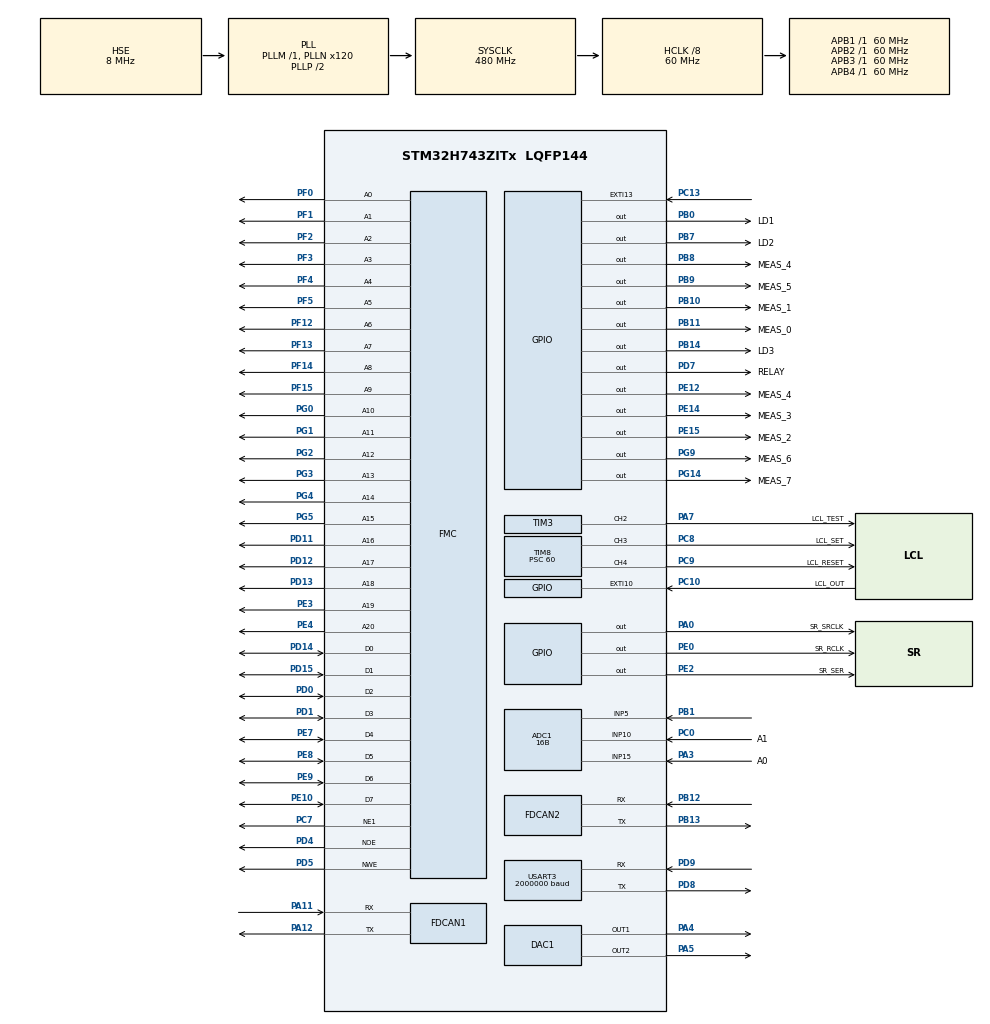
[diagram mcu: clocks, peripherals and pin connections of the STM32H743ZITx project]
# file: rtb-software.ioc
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PA11.GPIO_Speed=GPIO_SPEED_FREQ_VERY_HIGH
SH.FMC_D7_DA7.0=FMC_D7,8b-d1
PE3.GPIO_Speed_High_Default=GPIO_SPEED_FREQ_HIGH
VP_TIM17_VS_ClockSourceINT.Mode=Enable_Timer
SH.FMC_A0.0=FMC_A0,21b-a1
FDCAN2.DataPrescaler=8
PD11.GPIO_Speed_High_Default=GPIO_SPEED_FREQ_HIGH
SH.ADCx_INP10.0=ADC1_INP10,IN10-Single-Ended
PG4.Signal=FMC_A14_BA0
PB14.GPIO_Label=LD3
PG0.Signal=FMC_A10
FDCAN2.RxFifo0ElmtsNbr=4
PE8.GPIO_Speed_High_Default=GPIO_SPEED_FREQ_HIGH
TIM8.Channel-PWM\ Generation4\ CH4=TIM_CHANNEL_4
SH.ADCx_INP5.0=ADC1_INP5,IN5-Single-Ended
SH.FMC_D5_DA5.0=FMC_D5,8b-d1
PB13.Signal=FDCAN2_TX
SH.FMC_A19.0=FMC_A19,21b-a1
SH.FMC_NWE.0=FMC_NWE,Sram1
RCC.SYSCLKSource=RCC_SYSCLKSOURCE_PLLCLK
SH.FMC_A15_BA1.0=FMC_A15,21b-a1
USART3.VirtualMode-Asynchronous=VM_ASYNC
PD0.GPIO_Speed_High_Default=GPIO_SPEED_FREQ_HIGH
USART3.BaudRate=2000000
TIM8.Pulse-PWM\ Generation4\ CH4=1
PD5.GPIO_Speed_High_Default=GPIO_SPEED_FREQ_HIGH
PD4.Signal=FMC_NOE
ADC1.Channel-2\#ChannelRegularConversion=ADC_CHANNEL_5
PC7.Signal=FMC_NE1
PD0.Signal=FMC_D2_DA2
PD8.Signal=USART3_TX
PG0.GPIO_Speed_High_Default=GPIO_SPEED_FREQ_HIGH
PG5.GPIO_Speed_High_Default=GPIO_SPEED_FREQ_HIGH
NVIC.EXTI15_10_IRQn=true\:1\:0\:true\:false\:true\:true\:true
SH.FMC_A18.0=FMC_A18,21b-a1
NVIC.TIM8_TRG_COM_TIM14_IRQn=true\:8\:0\:true\:false\:true\:true\:true
RCC.DIVM2=4
RCC.DIVM1=1
TIM15.Period=3000
FMC.DataSetupTime1=5
PE9.Signal=FMC_D6_DA6
SH.FMC_A2.0=FMC_A2,21b-a1
FDCAN1.NominalPrescaler=8
PF13.GPIO_Speed_High_Default=GPIO_SPEED_FREQ_HIGH
FDCAN2.NominalSyncJumpWidth=4
PE2.Signal=GPIO_Output
SH.FMC_D1_DA1.0=FMC_D1,8b-d1
PG4.GPIO_Speed_High_Default=GPIO_SPEED_FREQ_HIGH
PF3.Signal=FMC_A3
PE10.Signal=FMC_D7_DA7
PF1.GPIO_Speed_High_Default=GPIO_SPEED_FREQ_HIGH
ADC1.SamplingTime-0\#ChannelRegularConversion=ADC_SAMPLETIME_810CYCLES_5
PA0.Signal=GPIO_Output
Mcu.Package=LQFP144
PB9.Signal=GPIO_Output
PB1.Signal=ADCx_INP5
TIM8.Channel-PWM\ Generation3\ CH3=TIM_CHANNEL_3
SH.S_TIM8_CH4.0=TIM8_CH4,PWM Generation4 CH4
ADC1.OversamplingMode=DISABLE
PD12.Signal=FMC_A17_ALE
PC7.GPIO_Speed_High_Default=GPIO_SPEED_FREQ_HIGH
TIM8.Pulse-PWM\ Generation3\ CH3=1
PE12.GPIO_Label=MEAS_4
SH.FMC_A1.0=FMC_A1,21b-a1
RCC.APB4Freq_Value=60000000
FDCAN1.DataTimeSeg2=16
PF14.Signal=FMC_A8
FDCAN1.DataTimeSeg1=16
RCC.FDCANCLockSelection=RCC_FDCANCLKSOURCE_PLL2
TIM3.Pulse-PWM\ Generation2\ CH2=1
PB13.Mode=FDCAN_Activate
VP_TIM14_VS_ClockSourceINT.Mode=Enable_Timer
TIM16.Prescaler=600
PA12.GPIO_PuPd=GPIO_PULLUP
NVIC.TIM15_IRQn=true\:9\:0\:true\:false\:true\:true\:true
PH0-OSC_IN\ (PH0).Mode=HSE-External-Clock-Source
ADC1.EOCSelection=ADC_EOC_SINGLE_CONV
PD15.Signal=FMC_D1_DA1
SH.FMC_D3_DA3.0=FMC_D3,8b-d1
PE7.GPIO_Speed_High_Default=GPIO_SPEED_FREQ_HIGH
SH.S_TIM8_CH3.0=TIM8_CH3,PWM Generation3 CH3
SH.FMC_A4.0=FMC_A4,21b-a1
RCC.DIVQ2=4
RCC.DIVQ1=4
ADC1.Rank-0\#ChannelRegularConversion=1
DAC1.DAC_Channel-DAC_OUT2=DAC_CHANNEL_2
PD1.GPIO_Speed_High_Default=GPIO_SPEED_FREQ_HIGH
FMC.WriteFifo3=FMC_WRITE_FIFO_DISABLE
PG5.Signal=FMC_A15_BA1
ADC1.OffsetNumber-0\#ChannelRegularConversion=ADC_OFFSET_NONE
FMC.WriteFifo4=FMC_WRITE_FIFO_DISABLE
PG9.Signal=GPIO_Output
FMC.WriteFifo1=FMC_WRITE_FIFO_DISABLE
PC13.Signal=GPXTI13
PE9.GPIO_Speed_High_Default=GPIO_SPEED_FREQ_HIGH
FMC.WriteFifo2=FMC_WRITE_FIFO_DISABLE
PB11.GPIO_Label=MEAS_0
PD7.Signal=GPIO_Output
PD1.Signal=FMC_D3_DA3
VP_TIM16_VS_ClockSourceINT.Mode=Enable_Timer
NVIC.TIM16_IRQn=true\:8\:0\:true\:false\:true\:true\:true
PC0.Signal=ADCx_INP10
PG1.GPIO_Speed_High_Default=GPIO_SPEED_FREQ_HIGH
SH.FMC_NOE.0=FMC_NOE,Sram1
NVIC.FDCAN2_IT0_IRQn=true\:1\:0\:true\:false\:true\:true\:true
FDCAN2.NominalTimeSeg1=16
FDCAN2.NominalTimeSeg2=16
SH.FMC_A3.0=FMC_A3,21b-a1
FMC.AddressSetupTime1=5
PB8.GPIO_Label=MEAS_4
PC8.GPIO_ModeDefaultPP=GPIO_MODE_AF_OD
SH.COMP_DAC11_group.0=DAC1_OUT1,DAC_OUT1
RCC.DIVN2=128
RCC.DIVN1=120
PB13.GPIO_Speed=GPIO_SPEED_FREQ_VERY_HIGH
FDCAN2.NominalPrescaler=8
VP_TIM8_VS_ClockSourceINT.Mode=Internal
PF5.GPIO_Speed_High_Default=GPIO_SPEED_FREQ_HIGH
PC7.GPIO_PuPd=GPIO_NOPULL
PD8.Mode=Asynchronous
ADC1.OffsetSignedSaturation-0\#ChannelRegularConversion=DISABLE
PB10.Signal=GPIO_Output
PB14.Signal=GPIO_Output
PA5.Signal=COMP_DAC12_group
PD7.PinState=GPIO_PIN_SET
PD14.GPIO_Speed_High_Default=GPIO_SPEED_FREQ_HIGH
PA7.GPIO_Speed=GPIO_SPEED_FREQ_HIGH
PB13.GPIO_PuPd=GPIO_PULLUP
FDCAN1.AutoRetransmission=ENABLE
SH.FMC_A6.0=FMC_A6,21b-a1
PE14.Signal=GPIO_Output
PD4.GPIO_Speed_High_Default=GPIO_SPEED_FREQ_HIGH
PE15.Signal=GPIO_Output
PE8.Signal=FMC_D5_DA5
PC9.GPIO_PuPd=GPIO_NOPULL
PF13.Signal=FMC_A7
PG14.GPIO_Label=MEAS_7
PF14.GPIO_Speed_High_Default=GPIO_SPEED_FREQ_HIGH
TIM14.Prescaler=6000
TIM8.Period=600
TIM8.OCPolarity_4=TIM_OCPOLARITY_HIGH
TIM8.OCPolarity_3=TIM_OCPOLARITY_HIGH
PC8.GPIO_PuPd=GPIO_NOPULL
FDCAN1.DataPrescaler=8
PA4.Signal=COMP_DAC11_group
ADC1.SamplingTime-1\#ChannelRegularConversion=ADC_SAMPLETIME_810CYCLES_5
FDCAN1.NominalSyncJumpWidth=4
ADC1.master=1
TIM8.OCIdleState_4=TIM_OCIDLESTATE_SET
PD11.Signal=FMC_A16_CLE
ADC1.Rank-1\#ChannelRegularConversion=2
SH.FMC_A5.0=FMC_A5,21b-a1
PA11.Signal=FDCAN1_RX
ProjectManager.HeapSize=0x200
SH.FMC_A20.0=FMC_A20,21b-a1
NVIC.TIM8_UP_TIM13_IRQn=true\:9\:0\:true\:false\:true\:true\:true
TIM8.OCIdleState_3=TIM_OCIDLESTATE_SET
NVIC.PriorityGroup=NVIC_PRIORITYGROUP_4
FDCAN2.TxFifoQueueElmtsNbr=2
TIM3.Channel-PWM\ Generation2\ CH2=TIM_CHANNEL_2
PE3.Signal=FMC_A19
PF4.Signal=FMC_A4
PB12.GPIO_PuPd=GPIO_PULLUP
PB0.Signal=GPIO_Output
TIM8.CounterMode=TIM_COUNTERMODE_UP
PF2.GPIO_Speed_High_Default=GPIO_SPEED_FREQ_HIGH
Mcu.Family=STM32H7
NVIC.USART3_IRQn=true\:1\:0\:true\:false\:true\:true\:true
FDCAN2.DataSyncJumpWidth=4
SH.FMC_A8.0=FMC_A8,21b-a1
ADC1.OffsetSignedSaturation-1\#ChannelRegularConversion=DISABLE
TIM17.Prescaler=600
RCC.CortexFreq_Value=480000000
ADC1.Overrun=ADC_OVR_DATA_PRESERVED
TIM14.AutoReloadPreload=TIM_AUTORELOAD_PRELOAD_DISABLE
ADC1.ContinuousConvMode=DISABLE
RCC.HPRE=RCC_HCLK_DIV8
FDCAN1.DataSyncJumpWidth=4
PF4.GPIO_Speed_High_Default=GPIO_SPEED_FREQ_HIGH
VP_TIM3_VS_OPM.Mode=OPM_bit
PH0-OSC_IN\ (PH0).Signal=RCC_OSC_IN
PG2.Signal=FMC_A12
SH.COMP_DAC12_group.0=DAC1_OUT2,DAC_OUT2
PC9.GPIO_ModeDefaultPP=GPIO_MODE_AF_OD
PC10.Signal=GPXTI10
PA0.GPIO_Label=SR_SRCLK
PC0.GPIO_Label=A1
SH.FMC_D6_DA6.0=FMC_D6,8b-d1
PA11.Mode=FDCAN_Activate
PB0.GPIO_Label=LD1
VP_TIM8_VS_OPM.Mode=OPM_bit
SH.FMC_A14_BA0.0=FMC_A14,21b-a1
PA11.GPIO_PuPd=GPIO_PULLUP
SH.FMC_A11.0=FMC_A11,21b-a1
NVIC.FDCAN2_IT1_IRQn=true\:1\:0\:true\:false\:true\:true\:true
PB11.Signal=GPIO_Output
FMC.WriteOperation1=FMC_WRITE_OPERATION_ENABLE
PD9.Mode=Asynchronous
ProjectManager.StackSize=0x400
PD13.Signal=FMC_A18
NVIC.ADC_IRQn=true\:8\:0\:true\:false\:true\:true\:true
SH.FMC_A7.0=FMC_A7,21b-a1
PA12.Signal=FDCAN1_TX
TIM15.Prescaler=60000
NVIC.TIM17_IRQn=true\:10\:0\:true\:false\:true\:true\:true
RCC.HCLKFreq_Value=60000000
ADC1.Resolution=ADC_RESOLUTION_16B
ADC1.LeftBitShift=ADC_LEFTBITSHIFT_NONE
TIM3.Period=100
PF12.Signal=FMC_A6
SH.FMC_A10.0=FMC_A10,21b-a1
PF15.GPIO_Speed_High_Default=GPIO_SPEED_FREQ_HIGH
ADC1.Channel-0\#ChannelRegularConversion=ADC_CHANNEL_15
RCC.HSE_VALUE=8000000
TIM14.Period=100
FDCAN1.Mode=FDCAN_MODE_NORMAL
PC10.GPIO_ModeDefaultEXTI=GPIO_MODE_IT_FALLING
SH.FMC_D2_DA2.0=FMC_D2,8b-d1
TIM17.Period=1000
TIM8.OCMode_PWM-PWM\ Generation4\ CH4=TIM_OCMODE_PWM1
ADC1.Rank-2\#ChannelRegularConversion=3
FMC.BusTurnAroundDuration1=5
TIM3.Prescaler=600
PC7.GPIO_Mode=GPIO_MODE_AF_PP
PB7.Signal=GPIO_Output
TIM16.RepetitionCounter=100
PE4.Signal=FMC_A20
NVIC.FDCAN1_IT1_IRQn=true\:1\:0\:true\:false\:true\:true\:true
FDCAN1.TxFifoQueueMode=FDCAN_TX_FIFO_OPERATION
FDCAN1.NominalTimeSeg2=16
FDCAN1.NominalTimeSeg1=16
PD7.GPIO_Label=RELAY
RCC.APB3Freq_Value=60000000
TIM3.OCPolarity_2=TIM_OCPOLARITY_LOW
PB7.GPIO_Label=LD2
PB12.Mode=FDCAN_Activate
SH.FMC_A13.0=FMC_A13,21b-a1
SH.FMC_D0_DA0.0=FMC_D0,8b-d1
PG2.GPIO_Speed_High_Default=GPIO_SPEED_FREQ_HIGH
FDCAN1.RxFifo0ElmtsNbr=4
SH.FMC_A9.0=FMC_A9,21b-a1
PF3.GPIO_Speed_High_Default=GPIO_SPEED_FREQ_HIGH
ADC1.OffsetNumber-1\#ChannelRegularConversion=ADC_OFFSET_NONE
SH.FMC_D4_DA4.0=FMC_D4,8b-d1
PE0.GPIO_Label=SR_RCLK
PF5.Signal=FMC_A5
TIM8.Prescaler=60
SH.ADCx_INP15.0=ADC1_INP15,IN15-Single-Ended
PF0.Signal=FMC_A0
PE7.Signal=FMC_D4_DA4
PD13.GPIO_Speed_High_Default=GPIO_SPEED_FREQ_HIGH
PE2.GPIO_Label=SR_SER
PA12.GPIO_Speed=GPIO_SPEED_FREQ_VERY_HIGH
FDCAN2.RxFifo1ElmtsNbr=4
PA3.Signal=ADCx_INP15
NVIC.FDCAN1_IT0_IRQn=true\:1\:0\:true\:false\:true\:true\:true
SH.FMC_A12.0=FMC_A12,21b-a1
RCC.PLLSourceVirtual=RCC_PLLSOURCE_HSE
TIM3.CounterMode=TIM_COUNTERMODE_UP
PB9.GPIO_Label=MEAS_5
PC10.GPIO_Label=LCL_OUT
PC9.GPIO_Label=LCL_RESET
PG3.Signal=FMC_A13
PG1.Signal=FMC_A11
PD12.GPIO_Speed_High_Default=GPIO_SPEED_FREQ_HIGH
PC8.Signal=S_TIM8_CH3
ADC1.DiscontinuousConvMode=DISABLE
PE14.GPIO_Label=MEAS_3
PD9.Signal=USART3_RX
PD5.Signal=FMC_NWE
ADC1.SamplingTime-2\#ChannelRegularConversion=ADC_SAMPLETIME_810CYCLES_5
NVIC.FDCAN_CAL_IRQn=true\:0\:0\:false\:false\:true\:true\:true
PC8.GPIO_Label=LCL_SET
PD15.GPIO_Speed_High_Default=GPIO_SPEED_FREQ_HIGH
PE15.GPIO_Label=MEAS_2
SH.FMC_A17_ALE.0=FMC_A17,21b-a1
ProjectManager.TargetToolchain=SW4STM32
PE4.GPIO_Speed_High_Default=GPIO_SPEED_FREQ_HIGH
PB10.GPIO_Label=MEAS_1
SH.FMC_A16_CLE.0=FMC_A16,21b-a1
ADC1.OffsetSignedSaturation-2\#ChannelRegularConversion=DISABLE
PF0.GPIO_Speed_High_Default=GPIO_SPEED_FREQ_HIGH
FDCAN2.DataTimeSeg1=16
ADC1.Channel-1\#ChannelRegularConversion=ADC_CHANNEL_10
FDCAN2.DataTimeSeg2=16
PF2.Signal=FMC_A2
ADC1.EnableAnalogWatchDog1=false
RCC.USBFreq_Value=240000000
PB12.GPIO_Speed=GPIO_SPEED_FREQ_VERY_HIGH
PE10.GPIO_Speed_High_Default=GPIO_SPEED_FREQ_HIGH
PG9.GPIO_Label=MEAS_6
SH.S_TIM3_CH2.0=TIM3_CH2,PWM Generation2 CH2
PG14.Signal=GPIO_Output
board=custom
TIM16.Period=50
RCC.APB2Freq_Value=60000000
FDCAN1.RxFifo1ElmtsNbr=4
PG3.GPIO_Speed_High_Default=GPIO_SPEED_FREQ_HIGH
RCC.ADCFreq_Value=128000000
PF15.Signal=FMC_A9
VP_TIM14_VS_OPM.Mode=OPM_bit
PF1.Signal=FMC_A1
ADC1.NbrOfConversion=3
ADC1.OffsetNumber-2\#ChannelRegularConversion=ADC_OFFSET_NONE
Mcu.Name=STM32H743ZITx
PE0.Signal=GPIO_Output
PE12.Signal=GPIO_Output
PD14.Signal=FMC_D0_DA0
RCC.SYSCLKFreq_VALUE=480000000
PA7.GPIO_Label=LCL_TEST
TIM17.RepetitionCounter=100
PA12.Mode=FDCAN_Activate
PF12.GPIO_Speed_High_Default=GPIO_SPEED_FREQ_HIGH
VP_TIM15_VS_ClockSourceINT.Mode=Internal
ADC1.NbrOfConversionFlag=1
PB8.Signal=GPIO_Output
PC9.Signal=S_TIM8_CH4
PC7.Mode=NorPsramChipSelect1_1
RCC.APB1Freq_Value=60000000
ADC1.ClockPrescaler=ADC_CLOCK_ASYNC_DIV256
PD7.GPIO_ModeDefaultOutputPP=GPIO_MODE_OUTPUT_OD
FDCAN1.TxFifoQueueElmtsNbr=2
PB12.Signal=FDCAN2_RX
PA3.GPIO_Label=A0
PA7.Signal=S_TIM3_CH2

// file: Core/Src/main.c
/* USER CODE BEGIN Header */
/**
  ******************************************************************************
  * @file           : main.c
  * @brief          : Main program body
  ******************************************************************************
  * @attention
  *
  * <h2><center>&copy; Copyright (c) 2021 STMicroelectronics.
  * All rights reserved.</center></h2>
  *
  * This software component is licensed by ST under BSD 3-Clause license,
  * the "License"; You may not use this file except in compliance with the
  * License. You may obtain a copy of the License at:
  *                        opensource.org/licenses/BSD-3-Clause
  *
  ******************************************************************************
  */
/* USER CODE END Header */
#include "main.h"

/* USER CODE BEGIN Includes */
#include "parameters.h"
#include "experiments.h"
#include "log.h"
#include "stm32h7xx_ll_usart.h"
#include "adc.h"
#include <memory.h>
#include <can.h>
#include <lcl.h>
#include <mram.h>
#include <stdlib.h>

/* USER CODE END Includes */

ADC_HandleTypeDef hadc1;

DAC_HandleTypeDef hdac1;

FDCAN_HandleTypeDef hfdcan1;
FDCAN_HandleTypeDef hfdcan2;

TIM_HandleTypeDef htim3;
TIM_HandleTypeDef htim8;
TIM_HandleTypeDef htim14;
TIM_HandleTypeDef htim15;
TIM_HandleTypeDef htim16;
TIM_HandleTypeDef htim17;

SRAM_HandleTypeDef hsram1;

/* USER CODE BEGIN PV */
uint8_t uart_buffer[UART_BUFFER_SIZE][UART_BUFFER_STRING_SIZE + 1];
atomic_uint uart_write = 0;
atomic_uint uart_read = 0;
bool reserved = false;
enum State state = none;
uint32_t lastLatchup = 0;
/* USER CODE END PV */

void SystemClock_Config(void);
static void MX_GPIO_Init(void);
static void MX_ADC1_Init(void);
static void MX_DAC1_Init(void);
static void MX_FDCAN1_Init(void);
static void MX_FDCAN2_Init(void);
static void MX_USART3_UART_Init(void);
static void MX_TIM16_Init(void);
static void MX_TIM17_Init(void);
static void MX_TIM3_Init(void);
static void MX_TIM15_Init(void);
static void MX_FMC_Init(void);
static void MX_TIM8_Init(void);
static void MX_TIM14_Init(void);

/* USER CODE BEGIN 0 */

/**
 * This function overwrites the default printf() and std::cout/cerr outputs,
 * redirecting them to a UART port.
 */
__attribute__((optimize("O0"))) int _write(int file, char *ptr, int len)
{
    static atomic_bool anyone_writing = false;

    if (file == 1 || file == 2) { // stdout, stderr
        if (len > UART_BUFFER_STRING_SIZE) {
            len = UART_BUFFER_STRING_SIZE;
        }
        // Write data into buffer in a cyclic format
        uint8_t* buffer = uart_buffer[(uart_write) % UART_BUFFER_SIZE];
        memcpy(buffer, ptr, len);
        buffer[len] = '\0';
        uart_write += 1;

        // Notify the PendSV interrupt handler that there are new items in the queue
        SCB->ICSR |= SCB_ICSR_PENDSVSET_Msk;
    }
    return len;
}

/**
 * Handler from any received messages by UART
 */
void uart_command_received(const uint8_t* command, uint32_t len) {
    log_trace("Received UART message: %.*s", len, command);

    if (len < 1) {
        log_error("Empty command received");
        return;
    }

    bool output = false;
    switch (command[0]) {
        case 'd':
        case 'f':
        case 'n':
            output = uart_set_parameter(command, len);
            break;
        case 'e':
        case 'p':
            output = uart_experiment(command, len);
    }

    if (!output) {
        log_error("I could not understand your command. Please try again");
    }
}

/**
  * Handler for any pin interrupts
  */
void HAL_GPIO_EXTI_Callback(uint16_t GPIO_Pin) {
    // Send clock update + LCL report on event
    if (GPIO_Pin == LCL_OUT_Pin) {
        if (RANDOM_ERRORS && output_status) {
            // If we have a test latchup trigger and we detect it,
            // we can disable it (simulating actual latchup restoration)
            LCL_Test_Trigger_OFF();
        }

        if (output_status) {
            // Latchup
            printf(UART_CONTROL UART_C_POWER "0" "L" "\r\n");
        }

        if (!output_status) return;

        // A falling edge occurred during a power cycle event. We can ignore it
        if (output_cycling) return;

        // Latchup occurred
        stop_experiment(-1);
        if (currentExperiment == -1) {
            LCL_ON(); // Restart the component
        } else {
            LCL_ON_Experiment();
        }
        printf(UART_CONTROL UART_C_TIME "%ld\r\n", HAL_GetTick());

        if (HAL_GetTick() - lastLatchup > MINIMUM_LATCHUP_INTERVAL) {
            static char state_string[STATE_STRING_SIZE];
            state_to_string(state, state_string);

            printf(UART_CONTROL UART_C_LATCHUP "%s\r\n", state_string);
            log_warn("SEL detected!");

            lastLatchup = HAL_GetTick();
        } else {
            // Microlatchup
            log_info("Micro-latchup detected");
        }
    } else if (GPIO_Pin == GPIO_PIN_13) {
        // Button pressed
        Outputs_OFF(); // Emergency scram
        HAL_Delay(100); // Debouncing (?)
        log_warn("SCRAM triggered. Output is off.");
    }
}

void HAL_TIM_PeriodElapsedCallback(TIM_HandleTypeDef *htim) {
    if (htim == &htim17) { // Tick timer
        // Print time as a control character on every timer update
        printf(UART_CONTROL UART_C_TIME "%ld\r\n", HAL_GetTick());
    } else if (htim == &htim16) { // ADC measurement timer
        // Acquire an ADC measurement
        ADC_BeginConversion();
    } else if (htim == &htim15) { // Latchup simulation timer
        if (RANDOM_ERRORS && output_status) {
            LCL_Test_Trigger();
            log_info("LCL test!");
        }

        // Create a random simulation for the next time
        __HAL_TIM_DISABLE(&htim15);
        __HAL_TIM_SET_COUNTER(&htim15, 0); // Make sure to start from the start
        __HAL_TIM_SET_AUTORELOAD(&htim15, (rand() % 5000 + 1)); // Max milliseconds
        __HAL_TIM_ENABLE(&htim15);
    } else if (htim == &htim14) { // Power-cycle delay timer
        if (output_status || output_cycling) { // Someone may have turned the output OFF in the meantime
            LCL_ON_Force();
        }
    } else if (htim == &htim8) { // LCL SET/RESET timer
        LCL_Check();
    }
}

void state_to_string(enum State state, char * string) {
    switch (state) {
        case canRX:
            strcpy(string, "RX");
            break;
        case canTX:
            strcpy(string, "TX");
            break;
        case canIdle:
            strcpy(string, "Idle");
            break;
        default:
            strcpy(string, "");
    }
}
/* USER CODE END 0 */

int main(void)
{

  /* MCU Configuration--------------------------------------------------------*/

  /* Reset of all peripherals, Initializes the Flash interface and the Systick. */
  HAL_Init();

  /* Configure the system clock */
  SystemClock_Config();

  /* USER CODE BEGIN SysInit */
  char buf[STDOUT_BUFFER_SIZE];
  volatile int output = setvbuf(stdout, buf, _IOLBF, STDOUT_BUFFER_SIZE);
  /* USER CODE END SysInit */

  /* Initialize all configured peripherals */
  MX_GPIO_Init();
  MX_ADC1_Init();
  MX_DAC1_Init();
  MX_FDCAN1_Init();
  MX_FDCAN2_Init();
  MX_USART3_UART_Init();
  MX_TIM16_Init();
  MX_TIM17_Init();
  MX_TIM3_Init();
  MX_TIM15_Init();
  MX_FMC_Init();
  MX_TIM8_Init();
  MX_TIM14_Init();
  /* USER CODE BEGIN 2 */
    log_info("Microcontroller boot");
    printf(UART_CONTROL UART_C_BOOT "\n");
  /* USER CODE END 2 */

  /* Infinite loop */
  /* USER CODE BEGIN WHILE */
#pragma clang diagnostic push
#pragma ide diagnostic ignored "EndlessLoop"
  while (1)
  {

//      log_trace("Hello %s", "world");
//      log_trace("%ld %ld", HAL_ADC_GetValue(&hadc1), HAL_ADC_GetValue(&hadc1));

    loop_experiment(-1);

    /* USER CODE END WHILE */

    /* USER CODE BEGIN 3 */
  }
#pragma clang diagnostic pop
  /* USER CODE END 3 */
}

void SystemClock_Config(void)
{
  RCC_OscInitTypeDef RCC_OscInitStruct = {0};
  RCC_ClkInitTypeDef RCC_ClkInitStruct = {0};
  RCC_PeriphCLKInitTypeDef PeriphClkInitStruct = {0};

  /** Supply configuration update enable
  */
  HAL_PWREx_ConfigSupply(PWR_LDO_SUPPLY);
  /** Configure the main internal regulator output voltage
  */
  __HAL_PWR_VOLTAGESCALING_CONFIG(PWR_REGULATOR_VOLTAGE_SCALE0);

  while(!__HAL_PWR_GET_FLAG(PWR_FLAG_VOSRDY)) {}
  /** Macro to configure the PLL clock source
  */
  __HAL_RCC_PLL_PLLSOURCE_CONFIG(RCC_PLLSOURCE_HSE);
  /** Initializes the RCC Oscillators according to the specified parameters
  * in the RCC_OscInitTypeDef structure.
  */
  RCC_OscInitStruct.OscillatorType = RCC_OSCILLATORTYPE_HSE;
  RCC_OscInitStruct.HSEState = RCC_HSE_BYPASS;
  RCC_OscInitStruct.PLL.PLLState = RCC_PLL_ON;
  RCC_OscInitStruct.PLL.PLLSource = RCC_PLLSOURCE_HSE;
  RCC_OscInitStruct.PLL.PLLM = 1;
  RCC_OscInitStruct.PLL.PLLN = 120;
  RCC_OscInitStruct.PLL.PLLP = 2;
  RCC_OscInitStruct.PLL.PLLQ = 4;
  RCC_OscInitStruct.PLL.PLLR = 2;
  RCC_OscInitStruct.PLL.PLLRGE = RCC_PLL1VCIRANGE_3;
  RCC_OscInitStruct.PLL.PLLVCOSEL = RCC_PLL1VCOWIDE;
  RCC_OscInitStruct.PLL.PLLFRACN = 0;
  if (HAL_RCC_OscConfig(&RCC_OscInitStruct) != HAL_OK)
  {
    Error_Handler();
  }
  /** Initializes the CPU, AHB and APB buses clocks
  */
  RCC_ClkInitStruct.ClockType = RCC_CLOCKTYPE_HCLK|RCC_CLOCKTYPE_SYSCLK
                              |RCC_CLOCKTYPE_PCLK1|RCC_CLOCKTYPE_PCLK2
                              |RCC_CLOCKTYPE_D3PCLK1|RCC_CLOCKTYPE_D1PCLK1;
  RCC_ClkInitStruct.SYSCLKSource = RCC_SYSCLKSOURCE_PLLCLK;
  RCC_ClkInitStruct.SYSCLKDivider = RCC_SYSCLK_DIV1;
  RCC_ClkInitStruct.AHBCLKDivider = RCC_HCLK_DIV8;
  RCC_ClkInitStruct.APB3CLKDivider = RCC_APB3_DIV1;
  RCC_ClkInitStruct.APB1CLKDivider = RCC_APB1_DIV1;
  RCC_ClkInitStruct.APB2CLKDivider = RCC_APB2_DIV1;
  RCC_ClkInitStruct.APB4CLKDivider = RCC_APB4_DIV1;

  if (HAL_RCC_ClockConfig(&RCC_ClkInitStruct, FLASH_LATENCY_0) != HAL_OK)
  {
    Error_Handler();
  }
  PeriphClkInitStruct.PeriphClockSelection = RCC_PERIPHCLK_USART3|RCC_PERIPHCLK_FDCAN
                              |RCC_PERIPHCLK_ADC|RCC_PERIPHCLK_FMC;
  PeriphClkInitStruct.PLL2.PLL2M = 4;
  PeriphClkInitStruct.PLL2.PLL2N = 128;
  PeriphClkInitStruct.PLL2.PLL2P = 2;
  PeriphClkInitStruct.PLL2.PLL2Q = 4;
  PeriphClkInitStruct.PLL2.PLL2R = 2;
  PeriphClkInitStruct.PLL2.PLL2RGE = RCC_PLL2VCIRANGE_1;
  PeriphClkInitStruct.PLL2.PLL2VCOSEL = RCC_PLL2VCOWIDE;
  PeriphClkInitStruct.PLL2.PLL2FRACN = 0;
  PeriphClkInitStruct.FmcClockSelection = RCC_FMCCLKSOURCE_D1HCLK;
  PeriphClkInitStruct.FdcanClockSelection = RCC_FDCANCLKSOURCE_PLL2;
  PeriphClkInitStruct.Usart234578ClockSelection = RCC_USART234578CLKSOURCE_D2PCLK1;
  PeriphClkInitStruct.AdcClockSelection = RCC_ADCCLKSOURCE_PLL2;
  if (HAL_RCCEx_PeriphCLKConfig(&PeriphClkInitStruct) != HAL_OK)
  {
    Error_Handler();
  }
}

static void MX_ADC1_Init(void)
{

  ADC_MultiModeTypeDef multimode = {0};
  ADC_ChannelConfTypeDef sConfig = {0};

  /** Common config
  */
  hadc1.Instance = ADC1;
  hadc1.Init.ClockPrescaler = ADC_CLOCK_ASYNC_DIV256;
  hadc1.Init.Resolution = ADC_RESOLUTION_16B;
  hadc1.Init.ScanConvMode = ADC_SCAN_ENABLE;
  hadc1.Init.EOCSelection = ADC_EOC_SINGLE_CONV;
  hadc1.Init.LowPowerAutoWait = DISABLE;
  hadc1.Init.ContinuousConvMode = DISABLE;
  hadc1.Init.NbrOfConversion = 3;
  hadc1.Init.DiscontinuousConvMode = DISABLE;
  hadc1.Init.ExternalTrigConv = ADC_SOFTWARE_START;
  hadc1.Init.ExternalTrigConvEdge = ADC_EXTERNALTRIGCONVEDGE_NONE;
  hadc1.Init.ConversionDataManagement = ADC_CONVERSIONDATA_DR;
  hadc1.Init.Overrun = ADC_OVR_DATA_PRESERVED;
  hadc1.Init.LeftBitShift = ADC_LEFTBITSHIFT_NONE;
  hadc1.Init.OversamplingMode = DISABLE;
  if (HAL_ADC_Init(&hadc1) != HAL_OK)
  {
    Error_Handler();
  }
  /** Configure the ADC multi-mode
  */
  multimode.Mode = ADC_MODE_INDEPENDENT;
  if (HAL_ADCEx_MultiModeConfigChannel(&hadc1, &multimode) != HAL_OK)
  {
    Error_Handler();
  }
  /** Configure Regular Channel
  */
  sConfig.Channel = ADC_CHANNEL_15;
  sConfig.Rank = ADC_REGULAR_RANK_1;
  sConfig.SamplingTime = ADC_SAMPLETIME_810CYCLES_5;
  sConfig.SingleDiff = ADC_SINGLE_ENDED;
  sConfig.OffsetNumber = ADC_OFFSET_NONE;
  sConfig.Offset = 0;
  sConfig.OffsetSignedSaturation = DISABLE;
  if (HAL_ADC_ConfigChannel(&hadc1, &sConfig) != HAL_OK)
  {
    Error_Handler();
  }
  /** Configure Regular Channel
  */
  sConfig.Channel = ADC_CHANNEL_10;
  sConfig.Rank = ADC_REGULAR_RANK_2;
  if (HAL_ADC_ConfigChannel(&hadc1, &sConfig) != HAL_OK)
  {
    Error_Handler();
  }
  /** Configure Regular Channel
  */
  sConfig.Channel = ADC_CHANNEL_5;
  sConfig.Rank = ADC_REGULAR_RANK_3;
  if (HAL_ADC_ConfigChannel(&hadc1, &sConfig) != HAL_OK)
  {
    Error_Handler();
  }

}

static void MX_DAC1_Init(void)
{

  DAC_ChannelConfTypeDef sConfig = {0};

  /** DAC Initialization
  */
  hdac1.Instance = DAC1;
  if (HAL_DAC_Init(&hdac1) != HAL_OK)
  {
    Error_Handler();
  }
  /** DAC channel OUT1 config
  */
  sConfig.DAC_SampleAndHold = DAC_SAMPLEANDHOLD_DISABLE;
  sConfig.DAC_Trigger = DAC_TRIGGER_NONE;
  sConfig.DAC_OutputBuffer = DAC_OUTPUTBUFFER_ENABLE;
  sConfig.DAC_ConnectOnChipPeripheral = DAC_CHIPCONNECT_DISABLE;
  sConfig.DAC_UserTrimming = DAC_TRIMMING_FACTORY;
  if (HAL_DAC_ConfigChannel(&hdac1, &sConfig, DAC_CHANNEL_1) != HAL_OK)
  {
    Error_Handler();
  }
  /** DAC channel OUT2 config
  */
  sConfig.DAC_ConnectOnChipPeripheral = DAC_CHIPCONNECT_DISABLE;
  if (HAL_DAC_ConfigChannel(&hdac1, &sConfig, DAC_CHANNEL_2) != HAL_OK)
  {
    Error_Handler();
  }
  /* USER CODE BEGIN DAC1_Init 2 */
    HAL_DAC_Start(&hdac1, DAC_CHANNEL_1);
    HAL_DAC_Start(&hdac1, DAC_CHANNEL_2);
  /* USER CODE END DAC1_Init 2 */

}

static void MX_FDCAN1_Init(void)
{

  hfdcan1.Instance = FDCAN1;
  hfdcan1.Init.FrameFormat = FDCAN_FRAME_CLASSIC;
  hfdcan1.Init.Mode = FDCAN_MODE_NORMAL;
  hfdcan1.Init.AutoRetransmission = ENABLE;
  hfdcan1.Init.TransmitPause = DISABLE;
  hfdcan1.Init.ProtocolException = DISABLE;
  hfdcan1.Init.NominalPrescaler = 8;
  hfdcan1.Init.NominalSyncJumpWidth = 4;
  hfdcan1.Init.NominalTimeSeg1 = 16;
  hfdcan1.Init.NominalTimeSeg2 = 16;
  hfdcan1.Init.DataPrescaler = 8;
  hfdcan1.Init.DataSyncJumpWidth = 4;
  hfdcan1.Init.DataTimeSeg1 = 16;
  hfdcan1.Init.DataTimeSeg2 = 16;
  hfdcan1.Init.MessageRAMOffset = 0;
  hfdcan1.Init.StdFiltersNbr = 0;
  hfdcan1.Init.ExtFiltersNbr = 0;
  hfdcan1.Init.RxFifo0ElmtsNbr = 4;
  hfdcan1.Init.RxFifo0ElmtSize = FDCAN_DATA_BYTES_8;
  hfdcan1.Init.RxFifo1ElmtsNbr = 4;
  hfdcan1.Init.RxFifo1ElmtSize = FDCAN_DATA_BYTES_8;
  hfdcan1.Init.RxBuffersNbr = 0;
  hfdcan1.Init.RxBufferSize = FDCAN_DATA_BYTES_8;
  hfdcan1.Init.TxEventsNbr = 0;
  hfdcan1.Init.TxBuffersNbr = 0;
  hfdcan1.Init.TxFifoQueueElmtsNbr = 2;
  hfdcan1.Init.TxFifoQueueMode = FDCAN_TX_FIFO_OPERATION;
  hfdcan1.Init.TxElmtSize = FDCAN_DATA_BYTES_8;
  if (HAL_FDCAN_Init(&hfdcan1) != HAL_OK)
  {
    Error_Handler();
  }
  /* USER CODE BEGIN FDCAN1_Init 2 */
  Experiment_CAN_DeinitPins();
  /* USER CODE END FDCAN1_Init 2 */

}

static void MX_FDCAN2_Init(void)
{

  hfdcan2.Instance = FDCAN2;
  hfdcan2.Init.FrameFormat = FDCAN_FRAME_CLASSIC;
  hfdcan2.Init.Mode = FDCAN_MODE_NORMAL;
  hfdcan2.Init.AutoRetransmission = DISABLE;
  hfdcan2.Init.TransmitPause = DISABLE;
  hfdcan2.Init.ProtocolException = DISABLE;
  hfdcan2.Init.NominalPrescaler = 8;
  hfdcan2.Init.NominalSyncJumpWidth = 4;
  hfdcan2.Init.NominalTimeSeg1 = 16;
  hfdcan2.Init.NominalTimeSeg2 = 16;
  hfdcan2.Init.DataPrescaler = 8;
  hfdcan2.Init.DataSyncJumpWidth = 4;
  hfdcan2.Init.DataTimeSeg1 = 16;
  hfdcan2.Init.DataTimeSeg2 = 16;
  hfdcan2.Init.MessageRAMOffset = 0;
  hfdcan2.Init.StdFiltersNbr = 0;
  hfdcan2.Init.ExtFiltersNbr = 0;
  hfdcan2.Init.RxFifo0ElmtsNbr = 4;
  hfdcan2.Init.RxFifo0ElmtSize = FDCAN_DATA_BYTES_8;
  hfdcan2.Init.RxFifo1ElmtsNbr = 4;
  hfdcan2.Init.RxFifo1ElmtSize = FDCAN_DATA_BYTES_8;
  hfdcan2.Init.RxBuffersNbr = 0;
  hfdcan2.Init.RxBufferSize = FDCAN_DATA_BYTES_8;
  hfdcan2.Init.TxEventsNbr = 0;
  hfdcan2.Init.TxBuffersNbr = 0;
  hfdcan2.Init.TxFifoQueueElmtsNbr = 2;
  hfdcan2.Init.TxFifoQueueMode = FDCAN_TX_FIFO_OPERATION;
  hfdcan2.Init.TxElmtSize = FDCAN_DATA_BYTES_8;
  if (HAL_FDCAN_Init(&hfdcan2) != HAL_OK)
  {
    Error_Handler();
  }
  /* USER CODE BEGIN FDCAN2_Init 2 */
  Experiment_CAN_DeinitPins();
  /* USER CODE END FDCAN2_Init 2 */

}

static void MX_TIM3_Init(void)
{

  TIM_MasterConfigTypeDef sMasterConfig = {0};
  TIM_OC_InitTypeDef sConfigOC = {0};

  htim3.Instance = TIM3;
  htim3.Init.Prescaler = 600;
  htim3.Init.CounterMode = TIM_COUNTERMODE_UP;
  htim3.Init.Period = 100;
  htim3.Init.ClockDivision = TIM_CLOCKDIVISION_DIV1;
  htim3.Init.AutoReloadPreload = TIM_AUTORELOAD_PRELOAD_DISABLE;
  if (HAL_TIM_PWM_Init(&htim3) != HAL_OK)
  {
    Error_Handler();
  }
  if (HAL_TIM_OnePulse_Init(&htim3, TIM_OPMODE_SINGLE) != HAL_OK)
  {
    Error_Handler();
  }
  sMasterConfig.MasterOutputTrigger = TIM_TRGO_RESET;
  sMasterConfig.MasterSlaveMode = TIM_MASTERSLAVEMODE_DISABLE;
  if (HAL_TIMEx_MasterConfigSynchronization(&htim3, &sMasterConfig) != HAL_OK)
  {
    Error_Handler();
  }
  sConfigOC.OCMode = TIM_OCMODE_PWM1;
  sConfigOC.Pulse = 1;
  sConfigOC.OCPolarity = TIM_OCPOLARITY_LOW;
  sConfigOC.OCFastMode = TIM_OCFAST_DISABLE;
  if (HAL_TIM_PWM_ConfigChannel(&htim3, &sConfigOC, TIM_CHANNEL_2) != HAL_OK)
  {
    Error_Handler();
  }
  /* USER CODE BEGIN TIM3_Init 2 */
    HAL_TIM_Base_Start(&htim3);
    HAL_TIM_PWM_Start(&htim3, TIM_CHANNEL_2);
  /* USER CODE END TIM3_Init 2 */
  HAL_TIM_MspPostInit(&htim3);

}

static void MX_TIM8_Init(void)
{

  TIM_ClockConfigTypeDef sClockSourceConfig = {0};
  TIM_MasterConfigTypeDef sMasterConfig = {0};
  TIM_OC_InitTypeDef sConfigOC = {0};
  TIM_BreakDeadTimeConfigTypeDef sBreakDeadTimeConfig = {0};

  htim8.Instance = TIM8;
  htim8.Init.Prescaler = 60;
  htim8.Init.CounterMode = TIM_COUNTERMODE_UP;
  htim8.Init.Period = 600;
  htim8.Init.ClockDivision = TIM_CLOCKDIVISION_DIV1;
  htim8.Init.RepetitionCounter = 0;
  htim8.Init.AutoReloadPreload = TIM_AUTORELOAD_PRELOAD_DISABLE;
  if (HAL_TIM_Base_Init(&htim8) != HAL_OK)
  {
    Error_Handler();
  }
  sClockSourceConfig.ClockSource = TIM_CLOCKSOURCE_INTERNAL;
  if (HAL_TIM_ConfigClockSource(&htim8, &sClockSourceConfig) != HAL_OK)
  {
    Error_Handler();
  }
  if (HAL_TIM_PWM_Init(&htim8) != HAL_OK)
  {
    Error_Handler();
  }
  if (HAL_TIM_OnePulse_Init(&htim8, TIM_OPMODE_SINGLE) != HAL_OK)
  {
    Error_Handler();
  }
  sMasterConfig.MasterOutputTrigger = TIM_TRGO_RESET;
  sMasterConfig.MasterOutputTrigger2 = TIM_TRGO2_RESET;
  sMasterConfig.MasterSlaveMode = TIM_MASTERSLAVEMODE_DISABLE;
  if (HAL_TIMEx_MasterConfigSynchronization(&htim8, &sMasterConfig) != HAL_OK)
  {
    Error_Handler();
  }
  sConfigOC.OCMode = TIM_OCMODE_PWM1;
  sConfigOC.Pulse = 1;
  sConfigOC.OCPolarity = TIM_OCPOLARITY_HIGH;
  sConfigOC.OCNPolarity = TIM_OCNPOLARITY_HIGH;
  sConfigOC.OCFastMode = TIM_OCFAST_DISABLE;
  sConfigOC.OCIdleState = TIM_OCIDLESTATE_SET;
  sConfigOC.OCNIdleState = TIM_OCNIDLESTATE_RESET;
  if (HAL_TIM_PWM_ConfigChannel(&htim8, &sConfigOC, TIM_CHANNEL_3) != HAL_OK)
  {
    Error_Handler();
  }
  if (HAL_TIM_PWM_ConfigChannel(&htim8, &sConfigOC, TIM_CHANNEL_4) != HAL_OK)
  {
    Error_Handler();
  }
  sBreakDeadTimeConfig.OffStateRunMode = TIM_OSSR_DISABLE;
  sBreakDeadTimeConfig.OffStateIDLEMode = TIM_OSSI_DISABLE;
  sBreakDeadTimeConfig.LockLevel = TIM_LOCKLEVEL_OFF;
  sBreakDeadTimeConfig.DeadTime = 0;
  sBreakDeadTimeConfig.BreakState = TIM_BREAK_DISABLE;
  sBreakDeadTimeConfig.BreakPolarity = TIM_BREAKPOLARITY_HIGH;
  sBreakDeadTimeConfig.BreakFilter = 0;
  sBreakDeadTimeConfig.Break2State = TIM_BREAK2_DISABLE;
  sBreakDeadTimeConfig.Break2Polarity = TIM_BREAK2POLARITY_HIGH;
  sBreakDeadTimeConfig.Break2Filter = 0;
  sBreakDeadTimeConfig.AutomaticOutput = TIM_AUTOMATICOUTPUT_DISABLE;
  if (HAL_TIMEx_ConfigBreakDeadTime(&htim8, &sBreakDeadTimeConfig) != HAL_OK)
  {
    Error_Handler();
  }
  /* USER CODE BEGIN TIM8_Init 2 */
    HAL_TIM_Base_Start(&htim8);
    HAL_TIM_PWM_Start(&htim8, TIM_CHANNEL_3);
    HAL_TIM_PWM_Start(&htim8, TIM_CHANNEL_4);
    // Prevent spurious turning on of the outputs
    __HAL_TIM_SET_COUNTER(&htim8, __HAL_TIM_GET_AUTORELOAD(&htim8));
    __HAL_TIM_CLEAR_IT(&htim8, TIM_IT_UPDATE);
    __HAL_TIM_ENABLE_IT(&htim8, TIM_IT_UPDATE);
  /* USER CODE END TIM8_Init 2 */
  HAL_TIM_MspPostInit(&htim8);

}

static void MX_TIM14_Init(void)
{

  htim14.Instance = TIM14;
  htim14.Init.Prescaler = 6000;
  htim14.Init.CounterMode = TIM_COUNTERMODE_UP;
  htim14.Init.Period = 100;
  htim14.Init.ClockDivision = TIM_CLOCKDIVISION_DIV1;
  htim14.Init.AutoReloadPreload = TIM_AUTORELOAD_PRELOAD_DISABLE;
  if (HAL_TIM_Base_Init(&htim14) != HAL_OK)
  {
    Error_Handler();
  }
  if (HAL_TIM_OnePulse_Init(&htim14, TIM_OPMODE_SINGLE) != HAL_OK)
  {
    Error_Handler();
  }
  /* USER CODE BEGIN TIM14_Init 2 */
  __HAL_TIM_CLEAR_IT(&htim14, TIM_IT_UPDATE);
  __HAL_TIM_ENABLE_IT(&htim14, TIM_IT_UPDATE);
  /* USER CODE END TIM14_Init 2 */

}

static void MX_TIM15_Init(void)
{

  TIM_ClockConfigTypeDef sClockSourceConfig = {0};
  TIM_MasterConfigTypeDef sMasterConfig = {0};

  htim15.Instance = TIM15;
  htim15.Init.Prescaler = 60000;
  htim15.Init.CounterMode = TIM_COUNTERMODE_UP;
  htim15.Init.Period = 3000;
  htim15.Init.ClockDivision = TIM_CLOCKDIVISION_DIV1;
  htim15.Init.RepetitionCounter = 0;
  htim15.Init.AutoReloadPreload = TIM_AUTORELOAD_PRELOAD_DISABLE;
  if (HAL_TIM_Base_Init(&htim15) != HAL_OK)
  {
    Error_Handler();
  }
  sClockSourceConfig.ClockSource = TIM_CLOCKSOURCE_INTERNAL;
  if (HAL_TIM_ConfigClockSource(&htim15, &sClockSourceConfig) != HAL_OK)
  {
    Error_Handler();
  }
  sMasterConfig.MasterOutputTrigger = TIM_TRGO_RESET;
  sMasterConfig.MasterSlaveMode = TIM_MASTERSLAVEMODE_DISABLE;
  if (HAL_TIMEx_MasterConfigSynchronization(&htim15, &sMasterConfig) != HAL_OK)
  {
    Error_Handler();
  }
  /* USER CODE BEGIN TIM15_Init 2 */
  HAL_TIM_Base_Start_IT(&htim15);
  /* USER CODE END TIM15_Init 2 */

}

static void MX_TIM16_Init(void)
{

  htim16.Instance = TIM16;
  htim16.Init.Prescaler = 600;
  htim16.Init.CounterMode = TIM_COUNTERMODE_UP;
  htim16.Init.Period = 50;
  htim16.Init.ClockDivision = TIM_CLOCKDIVISION_DIV1;
  htim16.Init.RepetitionCounter = 100;
  htim16.Init.AutoReloadPreload = TIM_AUTORELOAD_PRELOAD_DISABLE;
  if (HAL_TIM_Base_Init(&htim16) != HAL_OK)
  {
    Error_Handler();
  }
  /* USER CODE BEGIN TIM16_Init 2 */
  HAL_TIM_Base_Start_IT(&htim16);
  /* USER CODE END TIM16_Init 2 */

}

static void MX_TIM17_Init(void)
{

  htim17.Instance = TIM17;
  htim17.Init.Prescaler = 600;
  htim17.Init.CounterMode = TIM_COUNTERMODE_UP;
  htim17.Init.Period = 1000;
  htim17.Init.ClockDivision = TIM_CLOCKDIVISION_DIV1;
  htim17.Init.RepetitionCounter = 100;
  htim17.Init.AutoReloadPreload = TIM_AUTORELOAD_PRELOAD_DISABLE;
  if (HAL_TIM_Base_Init(&htim17) != HAL_OK)
  {
    Error_Handler();
  }
  /* USER CODE BEGIN TIM17_Init 2 */
  HAL_TIM_Base_Start_IT(&htim17);
  /* USER CODE END TIM17_Init 2 */

}

static void MX_USART3_UART_Init(void)
{

  LL_USART_InitTypeDef USART_InitStruct = {0};

  LL_GPIO_InitTypeDef GPIO_InitStruct = {0};

  /* Peripheral clock enable */
  LL_APB1_GRP1_EnableClock(LL_APB1_GRP1_PERIPH_USART3);

  LL_AHB4_GRP1_EnableClock(LL_AHB4_GRP1_PERIPH_GPIOD);
  /**USART3 GPIO Configuration
  PD8   ------> USART3_TX
  PD9   ------> USART3_RX
  */
  GPIO_InitStruct.Pin = LL_GPIO_PIN_8|LL_GPIO_PIN_9;
  GPIO_InitStruct.Mode = LL_GPIO_MODE_ALTERNATE;
  GPIO_InitStruct.Speed = LL_GPIO_SPEED_FREQ_LOW;
  GPIO_InitStruct.OutputType = LL_GPIO_OUTPUT_PUSHPULL;
  GPIO_InitStruct.Pull = LL_GPIO_PULL_NO;
  GPIO_InitStruct.Alternate = LL_GPIO_AF_7;
  LL_GPIO_Init(GPIOD, &GPIO_InitStruct);

  /* USART3 interrupt Init */
  NVIC_SetPriority(USART3_IRQn, NVIC_EncodePriority(NVIC_GetPriorityGrouping(),1, 0));
  NVIC_EnableIRQ(USART3_IRQn);

  USART_InitStruct.PrescalerValue = LL_USART_PRESCALER_DIV1;
  USART_InitStruct.BaudRate = 2000000;
  USART_InitStruct.DataWidth = LL_USART_DATAWIDTH_8B;
  USART_InitStruct.StopBits = LL_USART_STOPBITS_1;
  USART_InitStruct.Parity = LL_USART_PARITY_NONE;
  USART_InitStruct.TransferDirection = LL_USART_DIRECTION_TX_RX;
  USART_InitStruct.HardwareFlowControl = LL_USART_HWCONTROL_NONE;
  USART_InitStruct.OverSampling = LL_USART_OVERSAMPLING_16;
  LL_USART_Init(USART3, &USART_InitStruct);
  LL_USART_SetTXFIFOThreshold(USART3, LL_USART_FIFOTHRESHOLD_1_8);
  LL_USART_SetRXFIFOThreshold(USART3, LL_USART_FIFOTHRESHOLD_1_8);
  LL_USART_DisableFIFO(USART3);
  LL_USART_ConfigAsyncMode(USART3);

  LL_USART_Enable(USART3);

  /* Polling USART3 initialisation */
  while((!(LL_USART_IsActiveFlag_TEACK(USART3))) || (!(LL_USART_IsActiveFlag_REACK(USART3))))
  {
  }
  /* USER CODE BEGIN USART3_Init 2 */
    LL_USART_EnableIT_RXNE_RXFNE(USART3);
  /* USER CODE END USART3_Init 2 */

}

/* FMC initialization function */
static void MX_FMC_Init(void)
{

  FMC_NORSRAM_TimingTypeDef Timing = {0};

  /** Perform the SRAM1 memory initialization sequence
  */
  hsram1.Instance = FMC_NORSRAM_DEVICE;
  hsram1.Extended = FMC_NORSRAM_EXTENDED_DEVICE;
  /* hsram1.Init */
  hsram1.Init.NSBank = FMC_NORSRAM_BANK1;
  hsram1.Init.DataAddressMux = FMC_DATA_ADDRESS_MUX_DISABLE;
  hsram1.Init.MemoryType = FMC_MEMORY_TYPE_SRAM;
  hsram1.Init.MemoryDataWidth = FMC_NORSRAM_MEM_BUS_WIDTH_8;
  hsram1.Init.BurstAccessMode = FMC_BURST_ACCESS_MODE_DISABLE;
  hsram1.Init.WaitSignalPolarity = FMC_WAIT_SIGNAL_POLARITY_LOW;
  hsram1.Init.WaitSignalActive = FMC_WAIT_TIMING_BEFORE_WS;
  hsram1.Init.WriteOperation = FMC_WRITE_OPERATION_ENABLE;
  hsram1.Init.WaitSignal = FMC_WAIT_SIGNAL_DISABLE;
  hsram1.Init.ExtendedMode = FMC_EXTENDED_MODE_DISABLE;
  hsram1.Init.AsynchronousWait = FMC_ASYNCHRONOUS_WAIT_DISABLE;
  hsram1.Init.WriteBurst = FMC_WRITE_BURST_DISABLE;
  hsram1.Init.ContinuousClock = FMC_CONTINUOUS_CLOCK_SYNC_ONLY;
  hsram1.Init.WriteFifo = FMC_WRITE_FIFO_DISABLE;
  hsram1.Init.PageSize = FMC_PAGE_SIZE_NONE;
  /* Timing */
  Timing.AddressSetupTime = 5;
  Timing.AddressHoldTime = 15;
  Timing.DataSetupTime = 5;
  Timing.BusTurnAroundDuration = 5;
  Timing.CLKDivision = 16;
  Timing.DataLatency = 17;
  Timing.AccessMode = FMC_ACCESS_MODE_A;
  /* ExtTiming */

  if (HAL_SRAM_Init(&hsram1, &Timing, NULL) != HAL_OK)
  {
    Error_Handler( );
  }

}

static void MX_GPIO_Init(void)
{
  GPIO_InitTypeDef GPIO_InitStruct = {0};

  /* GPIO Ports Clock Enable */
  __HAL_RCC_GPIOE_CLK_ENABLE();
  __HAL_RCC_GPIOC_CLK_ENABLE();
  __HAL_RCC_GPIOF_CLK_ENABLE();
  __HAL_RCC_GPIOH_CLK_ENABLE();
  __HAL_RCC_GPIOA_CLK_ENABLE();
  __HAL_RCC_GPIOB_CLK_ENABLE();
  __HAL_RCC_GPIOG_CLK_ENABLE();
  __HAL_RCC_GPIOD_CLK_ENABLE();

  /*Configure GPIO pin Output Level */
  HAL_GPIO_WritePin(GPIOE, SR_SER_Pin|MEAS_4_Pin|MEAS_3_Pin|MEAS_2_Pin
                          |SR_RCLK_Pin, GPIO_PIN_RESET);

  /*Configure GPIO pin Output Level */
  HAL_GPIO_WritePin(SR_SRCLK_GPIO_Port, SR_SRCLK_Pin, GPIO_PIN_RESET);

  /*Configure GPIO pin Output Level */
  HAL_GPIO_WritePin(GPIOB, LD1_Pin|MEAS_1_Pin|MEAS_0_Pin|LD3_Pin
                          |LD2_Pin|MEAS_4B8_Pin|MEAS_5_Pin, GPIO_PIN_RESET);

  /*Configure GPIO pin Output Level */
  HAL_GPIO_WritePin(RELAY_GPIO_Port, RELAY_Pin, GPIO_PIN_SET);

  /*Configure GPIO pin Output Level */
  HAL_GPIO_WritePin(GPIOG, MEAS_6_Pin|MEAS_7_Pin, GPIO_PIN_RESET);

  /*Configure GPIO pins : SR_SER_Pin MEAS_4_Pin MEAS_3_Pin MEAS_2_Pin
                           SR_RCLK_Pin */
  GPIO_InitStruct.Pin = SR_SER_Pin|MEAS_4_Pin|MEAS_3_Pin|MEAS_2_Pin
                          |SR_RCLK_Pin;
  GPIO_InitStruct.Mode = GPIO_MODE_OUTPUT_PP;
  GPIO_InitStruct.Pull = GPIO_NOPULL;
  GPIO_InitStruct.Speed = GPIO_SPEED_FREQ_LOW;
  HAL_GPIO_Init(GPIOE, &GPIO_InitStruct);

  /*Configure GPIO pin : PC13 */
  GPIO_InitStruct.Pin = GPIO_PIN_13;
  GPIO_InitStruct.Mode = GPIO_MODE_IT_RISING;
  GPIO_InitStruct.Pull = GPIO_NOPULL;
  HAL_GPIO_Init(GPIOC, &GPIO_InitStruct);

  /*Configure GPIO pin : SR_SRCLK_Pin */
  GPIO_InitStruct.Pin = SR_SRCLK_Pin;
  GPIO_InitStruct.Mode = GPIO_MODE_OUTPUT_PP;
  GPIO_InitStruct.Pull = GPIO_NOPULL;
  GPIO_InitStruct.Speed = GPIO_SPEED_FREQ_LOW;
  HAL_GPIO_Init(SR_SRCLK_GPIO_Port, &GPIO_InitStruct);

  /*Configure GPIO pins : LD1_Pin MEAS_1_Pin MEAS_0_Pin LD3_Pin
                           LD2_Pin MEAS_4B8_Pin MEAS_5_Pin */
  GPIO_InitStruct.Pin = LD1_Pin|MEAS_1_Pin|MEAS_0_Pin|LD3_Pin
                          |LD2_Pin|MEAS_4B8_Pin|MEAS_5_Pin;
  GPIO_InitStruct.Mode = GPIO_MODE_OUTPUT_PP;
  GPIO_InitStruct.Pull = GPIO_NOPULL;
  GPIO_InitStruct.Speed = GPIO_SPEED_FREQ_LOW;
  HAL_GPIO_Init(GPIOB, &GPIO_InitStruct);

  /*Configure GPIO pin : LCL_OUT_Pin */
  GPIO_InitStruct.Pin = LCL_OUT_Pin;
  GPIO_InitStruct.Mode = GPIO_MODE_IT_FALLING;
  GPIO_InitStruct.Pull = GPIO_NOPULL;
  HAL_GPIO_Init(LCL_OUT_GPIO_Port, &GPIO_InitStruct);

  /*Configure GPIO pin : RELAY_Pin */
  GPIO_InitStruct.Pin = RELAY_Pin;
  GPIO_InitStruct.Mode = GPIO_MODE_OUTPUT_OD;
  GPIO_InitStruct.Pull = GPIO_NOPULL;
  GPIO_InitStruct.Speed = GPIO_SPEED_FREQ_LOW;
  HAL_GPIO_Init(RELAY_GPIO_Port, &GPIO_InitStruct);

  /*Configure GPIO pins : MEAS_6_Pin MEAS_7_Pin */
  GPIO_InitStruct.Pin = MEAS_6_Pin|MEAS_7_Pin;
  GPIO_InitStruct.Mode = GPIO_MODE_OUTPUT_PP;
  GPIO_InitStruct.Pull = GPIO_NOPULL;
  GPIO_InitStruct.Speed = GPIO_SPEED_FREQ_LOW;
  HAL_GPIO_Init(GPIOG, &GPIO_InitStruct);

  /* EXTI interrupt init*/
  HAL_NVIC_SetPriority(EXTI15_10_IRQn, 1, 0);
  HAL_NVIC_EnableIRQ(EXTI15_10_IRQn);

}

void Error_Handler(void)
{
  __disable_irq();
  while (1)
  {
  }
}

/************************ (C) COPYRIGHT STMicroelectronics *****END OF FILE****/
